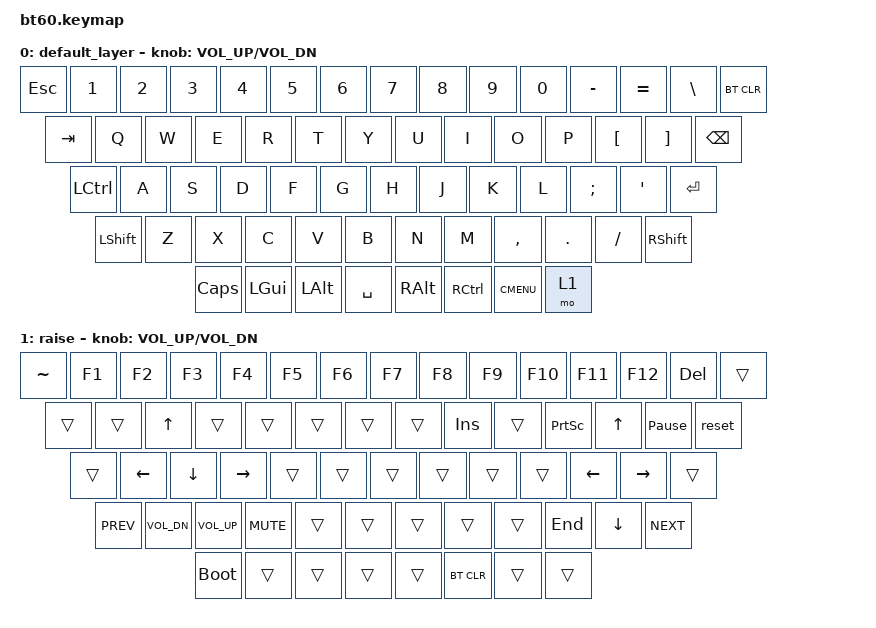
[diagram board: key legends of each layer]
#include <behaviors.dtsi>
#include <dt-bindings/zmk/keys.h>
#include <dt-bindings/zmk/bt.h>

/ {
	keymap {
		compatible = "zmk,keymap";

		default_layer {
				// HHKB-type layout bindings update
				// ------------------------------------------------------------------------------------------
				// | ESC |  1  |  2  |  3  |  4  |  5  |  6  |  7  |  8  |  9  |  0  |  -  |  =  |   BKSP   | DEL
				// | TAB  |  Q  |  W  |  E  |  R  |  T  |  Y  |  U  |  I  |  O  |  P  |  [  |  ]  |   |    |
				// | CAPS  |  A  |  S  |  D  |  F  |  G  |  H  |  J  |  K  |  L  |  ;  |  '  |     ENTER    |
				// |  SHIFT    |  Z  |  X  |  C  |  V  |  B  |  N  |  M  |  ,  |  .  | /   |      SHIFT     |
				// |  CTL  |  WIN  |  ALT  |            SPACE               | ALT | 1    |  MENU    |  CTRL    |
				// ------------------------------------------------------------------------------------------
			bindings = <
				&kp ESC &kp N1 &kp N2 &kp N3 &kp N4 &kp N5 &kp N6 &kp N7 &kp  N8   &kp  N9 &kp  N0  &kp MINUS &kp EQUAL &kp BSLH &bt BT_CLR
				&kp TAB  &kp Q  &kp W  &kp E  &kp R  &kp T  &kp Y  &kp U  &kp  I    &kp  O  &kp  P   &kp LBKT &kp RBKT  &kp BSPC
				&kp LCTRL  &kp A  &kp S  &kp D  &kp F  &kp G  &kp H  &kp J  &kp  K    &kp  L  &kp SEMI &kp SQT           &kp RET
				&kp LSHFT  &kp Z  &kp X  &kp C  &kp V  &kp B  &kp N  &kp M  &kp COMMA &kp DOT &kp FSLH             &kp RSHFT
				&kp CLCK &kp LGUI &kp LALT            &kp SPACE                          &kp RALT  &kp RCTRL &kp K_CMENU &mo 1
			>;
			sensor-bindings = <&inc_dec_kp C_VOL_UP C_VOL_DN>;
		};
		raise {
			bindings = <
				&kp TILDE &kp F1 &kp F2 &kp F3 &kp F4 &kp F5 &kp F6 &kp F7 &kp  F8   &kp  F9 &kp  F10  &kp F11 &kp F12   &kp DEL &trans
				&trans &trans &kp UP &trans &trans &trans &trans &trans &kp INS &trans &kp PSCRN &kp UP &kp PAUSE_BREAK &reset
				&trans    &kp LEFT &kp DOWN &kp RIGHT &trans &trans &trans &trans &trans &trans &kp LEFT  &kp RIGHT  &trans 
				&kp C_PREV &kp C_VOL_DN &kp C_VOL_UP &kp C_MUTE &trans &trans &trans &trans &trans &kp END &kp DOWN  &kp C_NEXT
				&bootloader &trans  &trans              &trans                            &trans &bt BT_CLR  &trans  &trans
			>;
			sensor-bindings = <&inc_dec_kp C_VOL_UP C_VOL_DN>;
		};
	};
};
